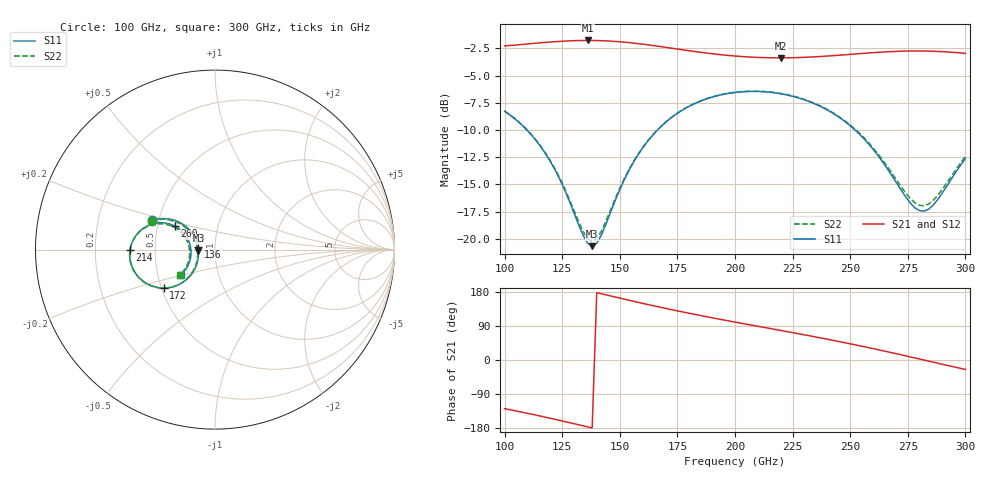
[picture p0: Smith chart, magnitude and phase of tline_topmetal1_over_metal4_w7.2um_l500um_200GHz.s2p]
#  GHZ S DB R 50
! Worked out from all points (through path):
!   101 points, 100 GHz to 300 GHz, reference 50 ohm
!   highest |S21| = -1.76 dB at 136 GHz (marker M1); lowest = -3.4 dB at 220 GHz (marker M2)
!   group delay of S21, straight-line fit = 3.49 ps
!   lowest |S11| = -20.7 dB at 138 GHz (marker M3), VSWR 1.20, Z = 41.5 - j0.558 ohm
!   |S11| at or under -10 dB: 109.7 GHz to 166.4 GHz (56.71 GHz wide, 41.1 % of centre); 252.1 GHz to end of sweep
!   |S22| runs from -20.2 to -6.4 dB; largest |S21 - S12| = 8.9e-14
!   S11 on the Smith chart (normalised r, x): 100 GHz: 0.46, +0.18; 136 GHz: 0.83, +0.02; 172 GHz: 0.51, -0.25; 214 GHz: 0.36, -0.00; 260 GHz: 0.62, +0.17; 300 GHz: 0.66, -0.19
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100  -8.27 155.1  -2.27 -128.4  -2.27 -128.4  -8.25 155.9
118  -12.26 142.3  -1.94 -151.3  -1.94 -151.3  -12.19 143.5
124  -14.55 142.0  -1.85 -159.5  -1.85 -159.5  -14.44 143.6
134  -19.65 162.1  -1.77 -173.6  -1.77 -173.6  -19.29 163.5
136  -20.39 172.3  -1.76 -176.5  -1.76 -176.5  -19.98 173.2
138  -20.68 -175.9  -1.76 -179.4  -1.76 -179.4  -20.24 -175.6
142  -19.65 -153.8  -1.78 174.9  -1.78 174.9  -19.31 -154.6
156  -12.94 -133.4  -2.01 154.9  -2.01 154.9  -12.87 -134.0
168  -9.66 -140.0  -2.33 138.7  -2.33 138.7  -9.62 -140.2
172  -8.92 -143.3  -2.46 133.5  -2.46 133.5  -8.89 -143.3
186  -7.26 -155.5  -2.88 116.2  -2.88 116.2  -7.24 -155.3
200  -6.55 -167.8  -3.19 100.1  -3.19 100.1  -6.52 -167.4
214  -6.50 -179.8  -3.35 84.5  -3.35 84.5  -6.48 -179.2
220  -6.67 175.2  -3.36 77.9  -3.36 77.9  -6.64 175.9
234  -7.53 164.0  -3.27 62.0  -3.27 62.0  -7.49 165.0
248  -9.26 154.2  -3.07 45.2  -3.07 45.2  -9.20 155.5
260  -11.78 149.6  -2.88 29.9  -2.88 29.9  -11.65 151.3
268  -14.16 152.2  -2.78 19.2  -2.78 19.2  -13.93 154.2
276  -16.69 165.9  -2.73 8.3  -2.73 8.3  -16.28 167.5
282  -17.45 -175.0  -2.73 -0.1  -2.73 -0.1  -16.96 -174.5
288  -16.39 -156.8  -2.77 -8.5  -2.77 -8.5  -16.00 -157.5
300  -12.61 -143.5  -2.95 -25.0  -2.95 -25.0  -12.44 -144.3
